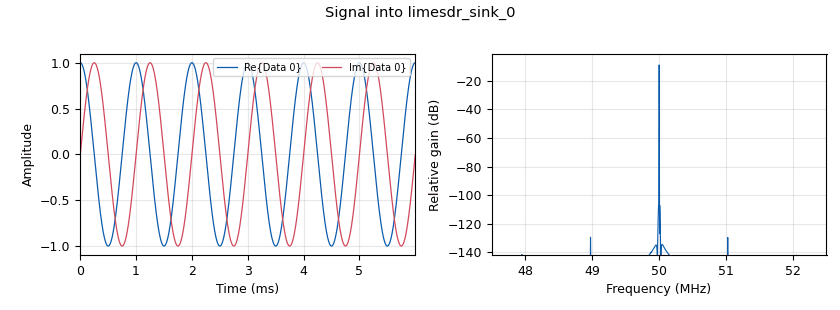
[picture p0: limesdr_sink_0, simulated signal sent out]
<?xml version='1.0' encoding='utf-8'?>
<?grc format='1' created='3.7.13'?>
<flow_graph>
<block>
<key>options</key>
<param><key>id</key><value>top_block</value></param>
<param><key>generate_options</key><value>qt_gui</value></param>
</block>
<block>
<key>variable</key>
<param><key>id</key><value>samp_rate</value></param>
<param><key>value</key><value>32000</value></param>
</block>
<block>
<key>analog_sig_source_x</key>
<param><key>id</key><value>analog_sig_source_x_0</value></param>
<param><key>amp</key><value>1</value></param>
<param><key>freq</key><value>1000</value></param>
<param><key>offset</key><value>0</value></param>
<param><key>type</key><value>complex</value></param>
<param><key>samp_rate</key><value>5E6</value></param>
<param><key>waveform</key><value>analog.GR_COS_WAVE</value></param>
</block>
<block>
<key>limesdr_sink</key>
<param><key>id</key><value>limesdr_sink_0</value></param>
<param><key>allow_tcxo_dac</key><value>0</value></param>
<param><key>analog_bandw_ch0</key><value>130e6</value></param>
<param><key>calibr_bandw_ch0</key><value>5e6</value></param>
<param><key>calibr_bandw_ch1</key><value>5e6</value></param>
<param><key>channel_mode</key><value>0</value></param>
<param><key>dacVal</key><value>125</value></param>
<param><key>digital_bandw_ch0</key><value>5e6</value></param>
<param><key>digital_bandw_ch1</key><value>0</value></param>
<param><key>gain_dB_ch0</key><value>60</value></param>
<param><key>gain_dB_ch1</key><value>30</value></param>
<param><key>nco_freq_ch0</key><value>-43e6</value></param>
<param><key>oversample</key><value>0</value></param>
<param><key>pa_path_ch0</key><value>1</value></param>
<param><key>pa_path_ch1</key><value>1</value></param>
<param><key>rf_freq</key><value>50e6</value></param>
<param><key>samp_rate</key><value>5E6</value></param>
</block>
<connection><source_block_id>analog_sig_source_x_0</source_block_id><sink_block_id>limesdr_sink_0</sink_block_id><source_key>0</source_key><sink_key>0</sink_key></connection>
</flow_graph>
